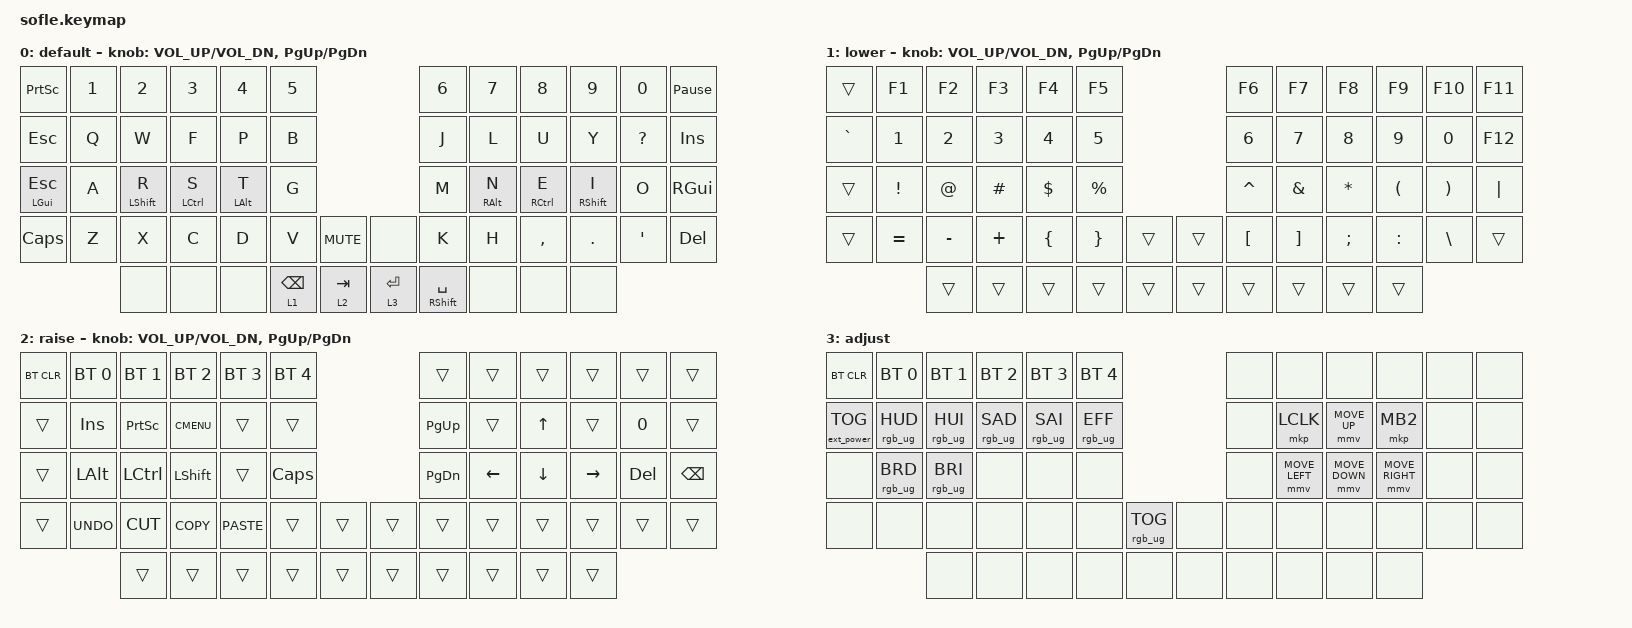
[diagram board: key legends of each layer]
/*
 * Copyright (c) 2020 The ZMK Contributors
 *
 * SPDX-License-Identifier: MIT
 */

#include <behaviors.dtsi>
#include <dt-bindings/zmk/bt.h>
#include <dt-bindings/zmk/ext_power.h>
#include <dt-bindings/zmk/keys.h>
#include <dt-bindings/zmk/mouse.h>
#include <dt-bindings/zmk/rgb.h>

#define BASE 0
#define LOWER 1
#define RAISE 2
#define ADJUST 3

/ {
    // Activate ADJUST layer by pressing raise and lower

    conditional_layers {
        compatible = "zmk,conditional-layers";

        adjust_layer {
            if-layers = <LOWER RAISE>;
            then-layer = <ADJUST>;
        };
    };

    keymap {
        compatible = "zmk,keymap";

        default_layer {
            display-name = "default";

            // ------------------------------------------------------------------------------------------------------------
            // |   `   |  1  |  2  |  3   |  4   |  5   |                   |  6   |  7    |  8    |  9   |   0   |       |
            // |  ESC  |  Q  |  W  |  E   |  R   |  T   |                   |  Y   |  U    |  I    |  O   |   P   | BKSPC |
            // |  TAB  |  A  |  S  |  D   |  F   |  G   |                   |  H   |  J    |  K    |  L   |   ;   |   '   |
            // | SHIFT |  Z  |  X  |  C   |  V   |  B   |  MUTE  |  |       |  N   |  M    |  ,    |  .   |   /   | SHIFT |
            //               | GUI | ALT  | CTRL | LOWER|  ENTER |  | SPACE | RAISE| CTRL  | ALT   | GUI  |

            bindings = <
&kp PRINTSCREEN   &kp N1  &kp N2            &kp N3              &kp N4          &kp N5                                      &kp N6                 &kp N7           &kp N8       &kp N9             &kp N0            &kp PAUSE_BREAK
&kp ESC           &kp Q   &kp W             &kp F               &kp P           &kp B                                       &kp J                  &kp L            &kp U        &kp Y              &kp QUESTION      &kp INS
&mt LEFT_GUI ESC  &kp A   &mt LEFT_SHIFT R  &mt LEFT_CONTROL S  &mt LEFT_ALT T  &kp G                                       &kp M                  &mt RIGHT_ALT N  &mt RCTRL E  &mt RIGHT_SHIFT I  &kp O             &kp RIGHT_GUI
&kp CAPS          &kp Z   &kp X             &kp C               &kp D           &kp V            &kp C_MUTE    &none        &kp K                  &kp H            &kp COMMA    &kp DOT            &kp SINGLE_QUOTE  &kp DEL
                          &none             &none               &none           &lt 1 BACKSPACE  &lt 2 TAB     &lt 3 ENTER  &mt RIGHT_SHIFT SPACE  &none            &none        &none
            >;

            sensor-bindings = <&inc_dec_kp C_VOL_UP C_VOL_DN &inc_dec_kp PG_UP PG_DN>;
        };

        lower_layer {
            display-name = "lower";

            // TODO: Some binds are waiting for shifted keycode support.
            // ------------------------------------------------------------------------------------------------------------
            // |       |  F1 |  F2 |  F3  |  F4  |  F5  |                   |  F6  |  F7   |  F8   |  F9  |  F10  |  F11  |
            // |   `   |  1  |  2  |  3   |  4   |  5   |                   |  6   |  7    |  8    |  9   |   0   |  F12  |
            // |       |  !  |  @  |  #   |  $   |  %   |                   |  ^   |  &    |  *    |  (   |   )   |   |   |
            // |       |  =  |  -  |  +   |  {   |  }   |        |  |       |  [   |  ]    |  ;    |  :   |   \   |       |
            //               |     |      |      |      |        |  |       |      |       |       |      |

            bindings = <
&trans     &kp F1     &kp F2     &kp F3    &kp F4    &kp F5                       &kp F6     &kp F7    &kp F8     &kp F9     &kp F10   &kp F11
&kp GRAVE  &kp N1     &kp N2     &kp N3    &kp N4    &kp N5                       &kp N6     &kp N7    &kp N8     &kp N9     &kp N0    &kp F12
&trans     &kp EXCL   &kp AT     &kp HASH  &kp DLLR  &kp PRCNT                    &kp CARET  &kp AMPS  &kp ASTRK  &kp LPAR   &kp RPAR  &kp PIPE
&trans     &kp EQUAL  &kp MINUS  &kp PLUS  &kp LBRC  &kp RBRC   &trans    &trans  &kp LBKT   &kp RBKT  &kp SEMI   &kp COLON  &kp BSLH  &trans
                      &trans     &trans    &trans    &trans     &trans    &trans  &trans     &trans    &trans     &trans
            >;

            sensor-bindings = <&inc_dec_kp C_VOL_UP C_VOL_DN &inc_dec_kp PG_UP PG_DN>;
        };

        raise_layer {
            display-name = "raise";

            // ------------------------------------------------------------------------------------------------------------
            // | BTCLR | BT1  | BT2  |  BT3  |  BT4  |  BT5 |                |      |      |       |      |       |       |
            // |       | INS  | PSCR | GUI   |       |      |                | PGUP |      |   ^   |      |       |       |
            // |       | ALT  | CTRL | SHIFT |       | CAPS |                | PGDN |   <- |   v   |  ->  |  DEL  | BKSPC |
            // |       | UNDO | CUT  | COPY  | PASTE |      |      |  |      |      |      |       |      |       |       |
            //                |      |       |       |      |      |  |      |      |      |       |      |

            bindings = <
&bt BT_CLR  &bt BT_SEL 0  &bt BT_SEL 1  &bt BT_SEL 2  &bt BT_SEL 3  &bt BT_SEL 4                    &trans     &trans    &trans    &trans     &trans   &trans
&trans      &kp INS       &kp PSCRN     &kp K_CMENU   &trans        &trans                          &kp PG_UP  &trans    &kp UP    &trans     &kp N0   &trans
&trans      &kp LALT      &kp LCTRL     &kp LSHFT     &trans        &kp CLCK                        &kp PG_DN  &kp LEFT  &kp DOWN  &kp RIGHT  &kp DEL  &kp BSPC
&trans      &kp K_UNDO    &kp K_CUT     &kp K_COPY    &kp K_PASTE   &trans        &trans    &trans  &trans     &trans    &trans    &trans     &trans   &trans
                          &trans        &trans        &trans        &trans        &trans    &trans  &trans     &trans    &trans    &trans
            >;

            sensor-bindings = <&inc_dec_kp C_VOL_UP C_VOL_DN &inc_dec_kp PG_UP PG_DN>;
        };

        adjust_layer {
            // ----------------------------------------------------------------------------------------------------------------------------
            // | BTCLR  |  BT1    |  BT2    |   BT3   |   BT4   |   BT5   |                  |      |      |       |      |       |       |
            // | EXTPWR | RGB_HUD | RGB_HUI | RGB_SAD | RGB_SAI | RGB_EFF |                  |      |      |       |      |       |       |
            // |        | RGB_BRD | RGB_BRI |         |         |         |                  |      |      |       |      |       |       |
            // |        |         |         |         |         |         | RGB_TOG | |      |      |      |       |      |       |       |
            //                    |         |         |         |         |         | |      |      |      |       |      |

            display-name = "adjust";
            bindings = <
&bt BT_CLR         &bt BT_SEL 0     &bt BT_SEL 1     &bt BT_SEL 2     &bt BT_SEL 3     &bt BT_SEL 4                               &none  &none           &none           &none            &none  &none
&ext_power EP_TOG  &rgb_ug RGB_HUD  &rgb_ug RGB_HUI  &rgb_ug RGB_SAD  &rgb_ug RGB_SAI  &rgb_ug RGB_EFF                            &none  &mkp LCLK       &mmv MOVE_UP    &mkp MB2         &none  &none
&none              &rgb_ug RGB_BRD  &rgb_ug RGB_BRI  &none            &none            &none                                      &none  &mmv MOVE_LEFT  &mmv MOVE_DOWN  &mmv MOVE_RIGHT  &none  &none
&none              &none            &none            &none            &none            &none            &rgb_ug RGB_TOG    &none  &none  &none           &none           &none            &none  &none
                                    &none            &none            &none            &none            &none              &none  &none  &none           &none           &none
            >;
        };
    };
};
